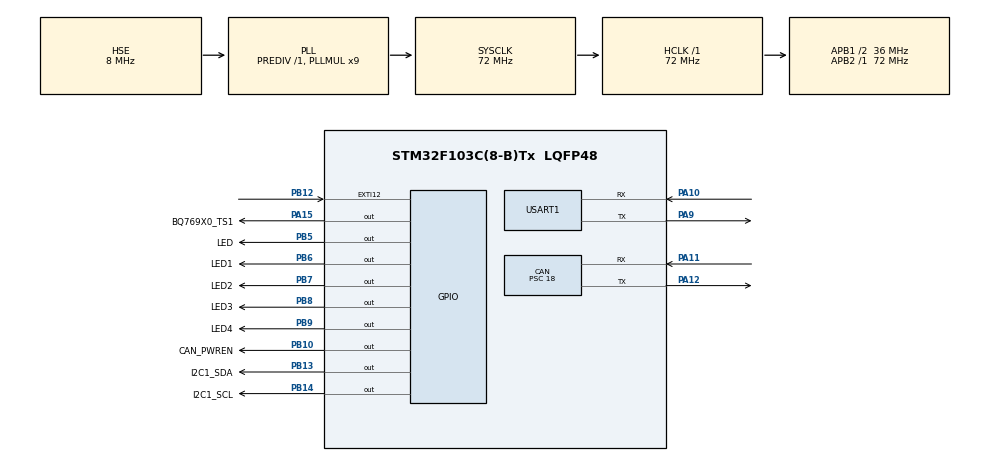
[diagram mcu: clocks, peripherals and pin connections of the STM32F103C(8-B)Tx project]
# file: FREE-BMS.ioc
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CAN.BS1=CAN_BS1_13TQ
CAN.BS2=CAN_BS2_2TQ
CAN.CalculateBaudRate=125000
CAN.CalculateTimeBit=8000
CAN.CalculateTimeQuantum=500.0
CAN.Prescaler=18
FREERTOS.Tasks01=defaultTask,24,256,StartDefaultTask,Default,NULL,Dynamic,NULL,NULL
FREERTOS.configTOTAL_HEAP_SIZE=10240
Mcu.Family=STM32F1
Mcu.Name=STM32F103C(8-B)Tx
Mcu.Package=LQFP48
NVIC.EXTI15_10_IRQn=true\:5\:0\:false\:false\:true\:true\:true\:true\:true
NVIC.PriorityGroup=NVIC_PRIORITYGROUP_4
NVIC.TIM4_IRQn=true\:15\:0\:false\:false\:true\:false\:false\:true\:true
NVIC.TimeBase=TIM4_IRQn
NVIC.TimeBaseIP=TIM4
PA10.Mode=Asynchronous
PA10.Signal=USART1_RX
PA11.Mode=CAN_Activate
PA11.Signal=CAN_RX
PA12.Mode=CAN_Activate
PA12.Signal=CAN_TX
PA13.Mode=Serial_Wire
PA13.Signal=SYS_JTMS-SWDIO
PA14.Mode=Serial_Wire
PA14.Signal=SYS_JTCK-SWCLK
PA15.GPIO_Label=BQ769X0_TS1
PA15.GPIO_Speed=GPIO_SPEED_FREQ_HIGH
PA15.Signal=GPIO_Output
PA9.Mode=Asynchronous
PA9.Signal=USART1_TX
PB10.GPIO_Label=CAN_PWREN
PB10.GPIO_ModeDefaultOutputPP=GPIO_MODE_OUTPUT_OD
PB10.GPIO_PuPd=GPIO_NOPULL
PB10.PinState=GPIO_PIN_SET
PB10.Signal=GPIO_Output
PB12.GPIO_PuPd=GPIO_NOPULL
PB12.Signal=GPXTI12
PB13.GPIO_Label=I2C1_SDA
PB13.GPIO_Speed=GPIO_SPEED_FREQ_HIGH
PB13.PinState=GPIO_PIN_SET
PB13.Signal=GPIO_Output
PB14.GPIO_Label=I2C1_SCL
PB14.Signal=GPIO_Output
PB5.GPIO_Label=LED
PB5.GPIO_Speed=GPIO_SPEED_FREQ_HIGH
PB5.PinState=GPIO_PIN_SET
PB5.Signal=GPIO_Output
PB6.GPIO_Label=LED1
PB6.GPIO_Speed=GPIO_SPEED_FREQ_HIGH
PB6.PinState=GPIO_PIN_SET
PB6.Signal=GPIO_Output
PB7.GPIO_Label=LED2
PB7.GPIO_Speed=GPIO_SPEED_FREQ_HIGH
PB7.PinState=GPIO_PIN_SET
PB7.Signal=GPIO_Output
PB8.GPIO_Label=LED3
PB8.GPIO_Speed=GPIO_SPEED_FREQ_HIGH
PB8.PinState=GPIO_PIN_SET
PB8.Signal=GPIO_Output
PB9.GPIO_Label=LED4
PB9.GPIO_Speed=GPIO_SPEED_FREQ_HIGH
PB9.PinState=GPIO_PIN_SET
PB9.Signal=GPIO_Output
PD0-OSC_IN.Mode=HSE-External-Oscillator
PD0-OSC_IN.Signal=RCC_OSC_IN
PD1-OSC_OUT.Mode=HSE-External-Oscillator
PD1-OSC_OUT.Signal=RCC_OSC_OUT
ProjectManager.HeapSize=0x200
ProjectManager.StackSize=0x400
ProjectManager.TargetToolchain=MDK-ARM V5.32
RCC.AHBFreq_Value=72000000
RCC.APB1CLKDivider=RCC_HCLK_DIV2
RCC.APB1Freq_Value=36000000
RCC.APB1TimFreq_Value=72000000
RCC.APB2Freq_Value=72000000
RCC.APB2TimFreq_Value=72000000
RCC.HCLKFreq_Value=72000000
RCC.PLLMUL=RCC_PLL_MUL9
RCC.PLLSourceVirtual=RCC_PLLSOURCE_HSE
RCC.SYSCLKFreq_VALUE=72000000
RCC.SYSCLKSource=RCC_SYSCLKSOURCE_PLLCLK
RCC.USBFreq_Value=72000000
USART1.VirtualMode=VM_ASYNC
VP_FREERTOS_VS_CMSIS_V2.Mode=CMSIS_V2
VP_SYS_VS_tim4.Mode=TIM4
board=custom

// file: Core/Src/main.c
/* USER CODE BEGIN Header */
/**
  ******************************************************************************
  * @file           : main.c
  * @brief          : Main program body
  ******************************************************************************
  * @attention
  *
  * Copyright (c) 2026 STMicroelectronics.
  * All rights reserved.
  *
  * This software is licensed under terms that can be found in the LICENSE file
  * in the root directory of this software component.
  * If no LICENSE file comes with this software, it is provided AS-IS.
  *
  ******************************************************************************
  */
/* USER CODE END Header */
#include "main.h"
#include "cmsis_os.h"
#include "can.h"
#include "usart.h"
#include "gpio.h"

/* USER CODE BEGIN Includes */

#include "bms_config.h"
#include "bms_hal_watchdog.h"

/* USER CODE END Includes */

void SystemClock_Config(void);
void MX_FREERTOS_Init(void);

int main(void)
{

  /* MCU Configuration--------------------------------------------------------*/

  /* Reset of all peripherals, Initializes the Flash interface and the Systick. */
  HAL_Init();

  /* USER CODE BEGIN Init */

  if (!BMS_HAL_WatchdogStart(BMS_WATCHDOG_BOOT_TIMEOUT_MS))
  {
    Error_Handler();
  }

  /* USER CODE END Init */

  /* Configure the system clock */
  SystemClock_Config();

  /* Initialize all configured peripherals */
  MX_GPIO_Init();
  MX_USART1_UART_Init();
  MX_CAN_Init();

  /* Init scheduler */
  osKernelInitialize();  /* Call init function for freertos objects (in freertos.c) */
  MX_FREERTOS_Init();

  /* Start scheduler */
  osKernelStart();
  /* We should never get here as control is now taken by the scheduler */
  /* Infinite loop */
  while (1)
  {

  }
}

void SystemClock_Config(void)
{
  RCC_OscInitTypeDef RCC_OscInitStruct = {0};
  RCC_ClkInitTypeDef RCC_ClkInitStruct = {0};

  /** Initializes the RCC Oscillators according to the specified parameters
  * in the RCC_OscInitTypeDef structure.
  */
  RCC_OscInitStruct.OscillatorType = RCC_OSCILLATORTYPE_HSE;
  RCC_OscInitStruct.HSEState = RCC_HSE_ON;
  RCC_OscInitStruct.HSEPredivValue = RCC_HSE_PREDIV_DIV1;
  RCC_OscInitStruct.HSIState = RCC_HSI_ON;
  RCC_OscInitStruct.PLL.PLLState = RCC_PLL_ON;
  RCC_OscInitStruct.PLL.PLLSource = RCC_PLLSOURCE_HSE;
  RCC_OscInitStruct.PLL.PLLMUL = RCC_PLL_MUL9;
  if (HAL_RCC_OscConfig(&RCC_OscInitStruct) != HAL_OK)
  {
    Error_Handler();
  }

  /** Initializes the CPU, AHB and APB buses clocks
  */
  RCC_ClkInitStruct.ClockType = RCC_CLOCKTYPE_HCLK|RCC_CLOCKTYPE_SYSCLK
                              |RCC_CLOCKTYPE_PCLK1|RCC_CLOCKTYPE_PCLK2;
  RCC_ClkInitStruct.SYSCLKSource = RCC_SYSCLKSOURCE_PLLCLK;
  RCC_ClkInitStruct.AHBCLKDivider = RCC_SYSCLK_DIV1;
  RCC_ClkInitStruct.APB1CLKDivider = RCC_HCLK_DIV2;
  RCC_ClkInitStruct.APB2CLKDivider = RCC_HCLK_DIV1;

  if (HAL_RCC_ClockConfig(&RCC_ClkInitStruct, FLASH_LATENCY_2) != HAL_OK)
  {
    Error_Handler();
  }
}

void HAL_TIM_PeriodElapsedCallback(TIM_HandleTypeDef *htim)
{
  if (htim->Instance == TIM4) {
    HAL_IncTick();
  }
}

void Error_Handler(void)
{
  __disable_irq();
  while (1)
  {
  }
}

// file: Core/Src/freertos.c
/* USER CODE BEGIN Header */
/**
  ******************************************************************************
  * File Name          : freertos.c
  * Description        : Code for freertos applications
  ******************************************************************************
  * @attention
  *
  * Copyright (c) 2026 STMicroelectronics.
  * All rights reserved.
  *
  * This software is licensed under terms that can be found in the LICENSE file
  * in the root directory of this software component.
  * If no LICENSE file comes with this software, it is provided AS-IS.
  *
  ******************************************************************************
  */
/* USER CODE END Header */

#include "FreeRTOS.h"
#include "task.h"
#include "main.h"
#include "cmsis_os.h"

/* USER CODE BEGIN Includes */

#include "bms_init.h"
#include "bms_sample_task.h"
#include "bms_alert_task.h"
#include "bms_uart_cmd.h"
#include "bms_can_task.h"
#include "bms_protect.h"
#include "bms_config.h"
#include "bms_hal_watchdog.h"
#include <stdio.h>

/* USER CODE END Includes */

/* USER CODE BEGIN Variables */
/* Definitions for sampleTask - BQ769X0 周期采样任务 */
osThreadId_t sampleTaskHandle;
const osThreadAttr_t sampleTask_attributes = {
  .name = "sampleTask",
  .stack_size = 256 * 4,
  .priority = (osPriority_t) osPriorityNormal,
};

/* Definitions for alertTask - BQ769X0 ALERT 中断处理任务 */
osThreadId_t alertTaskHandle;
const osThreadAttr_t alertTask_attributes = {
  .name = "alertTask",
  .stack_size = 256 * 4,
  .priority = (osPriority_t) osPriorityAboveNormal,
};

osThreadId_t bmsCanTaskHandle;
static volatile uint8_t criticalTasksReady;
/* USER CODE END Variables */
/* Definitions for defaultTask */
osThreadId_t defaultTaskHandle;
const osThreadAttr_t defaultTask_attributes = {
  .name = "defaultTask",
  .stack_size = 256 * 4,
  .priority = (osPriority_t) osPriorityNormal,
};

/* USER CODE BEGIN FunctionPrototypes */
extern void BMS_SampleTask(void *argument);
extern void BMS_AlertTask(void *argument);
/* USER CODE END FunctionPrototypes */

void StartDefaultTask(void *argument);

void MX_FREERTOS_Init(void); /* (MISRA C 2004 rule 8.1) */

void MX_FREERTOS_Init(void) {
  /* USER CODE BEGIN Init */

  if (!BMS_InitPrepare())
  {
    printf("[RTOS] ERROR: init event create failed\r\n");
  }

  /* USER CODE END Init */

  /* Create the thread(s) */
  /* creation of defaultTask */
  defaultTaskHandle = osThreadNew(StartDefaultTask, NULL, &defaultTask_attributes);

  /* USER CODE BEGIN RTOS_THREADS */
  /* add threads, ... */
  sampleTaskHandle = osThreadNew(BMS_SampleTask, NULL, &sampleTask_attributes);
  alertTaskHandle = osThreadNew(BMS_AlertTask, NULL, &alertTask_attributes);
  criticalTasksReady = ((defaultTaskHandle != NULL) && (sampleTaskHandle != NULL) &&
                        (alertTaskHandle != NULL)) ? 1U : 0U;
  if (!criticalTasksReady)
  {
    printf("[RTOS] ERROR: critical task create failed\r\n");
  }

#if (BMS_UART_CMD_ENABLE != 0)
  extern const osThreadAttr_t uartCmdTask_attributes;
  osThreadId_t uartCmdTaskHandle = osThreadNew(BMS_UartCmd_Task, NULL, &uartCmdTask_attributes);
  if (uartCmdTaskHandle == NULL)
  {
    printf("[RTOS] ERROR: uartCmdTask create failed\r\n");
  }
#endif

  bmsCanTaskHandle = osThreadNew(BMS_CAN_Task, NULL, &bmsCanTask_attributes);
  if (bmsCanTaskHandle == NULL)
  {
    printf("[RTOS] ERROR: bmsCanTask create failed\r\n");
  }
  /* USER CODE END RTOS_THREADS */

}

void StartDefaultTask(void *argument)
{
  /* USER CODE BEGIN StartDefaultTask */
  uint32_t last_progress;
  int init_status;

  (void)argument;
  init_status = BMS_InitRun();
  if (!criticalTasksReady)
  {
    for (;;)
    {
      osDelay(BMS_WATCHDOG_SUPERVISOR_MS);
    }
  }

  if ((init_status == 0) &&
      BMS_HAL_WatchdogSetTimeout(BMS_WATCHDOG_RUNTIME_TIMEOUT_MS))
  {
    last_progress = BMS_SampleTaskGetProgress();
    BMS_HAL_WatchdogRefresh();

    for (;;)
    {
      uint32_t progress;

      osDelay(BMS_WATCHDOG_SUPERVISOR_MS);
      progress = BMS_SampleTaskGetProgress();
      if (progress != last_progress)
      {
        last_progress = progress;
        BMS_HAL_WatchdogRefresh();
      }
    }
  }

  for (;;)
  {
    osDelay(BMS_WATCHDOG_SUPERVISOR_MS);
  }

  /* USER CODE END StartDefaultTask */
}
